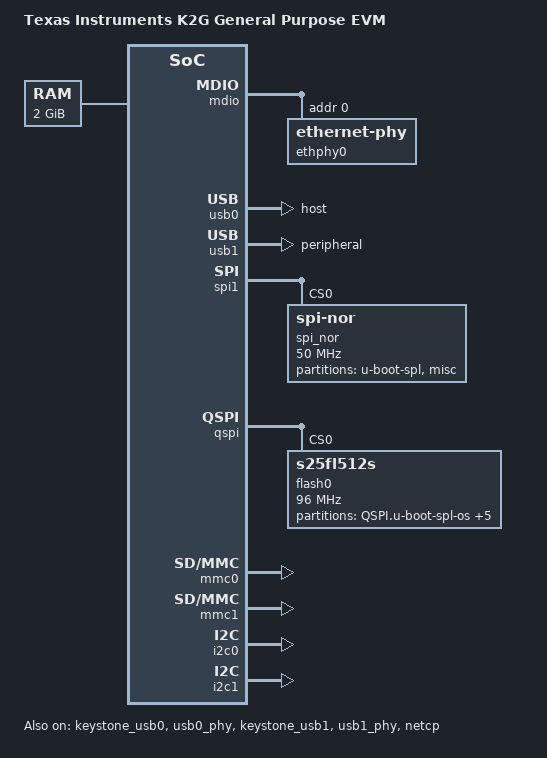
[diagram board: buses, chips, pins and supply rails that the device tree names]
/*
 * Copyright 2014 Texas Instruments, Inc.
 *
 * Device Tree Source for K2G EVM
 *
 * This program is free software; you can redistribute it and/or modify
 * it under the terms of the GNU General Public License version 2 as
 * published by the Free Software Foundation.
 */
/dts-v1/;

#include "keystone-k2g.dtsi"

/ {
	compatible =  "ti,k2g-evm","ti,keystone";
	model = "Texas Instruments K2G General Purpose EVM";

	chosen {
		stdout-path = &uart0;
	};

	memory@80000000 {
		device_type = "memory";
		reg = <0x80000000 0x80000000>;
	};
};

&mdio {
	status = "okay";
	ethphy0: ethernet-phy@0 {
		reg = <0>;
	};
};

&keystone_usb0 {
	status = "okay";
};

&usb0_phy {
	status = "okay";
	compatible = "nop-phy";
};

&usb0 {
	dr_mode = "host";
	status = "okay";
};

&keystone_usb1 {
	status = "okay";
};

&usb1_phy {
	compatible = "nop-phy";
	status = "okay";
};

&usb1 {
	dr_mode = "peripheral";
	status = "okay";
};

&gbe0 {
	phy-handle = <&ethphy0>;
};

&netcp {
	status = "okay";
};

&spi1 {
	status = "okay";

	spi_nor: flash@0 {
		#address-cells = <1>;
		#size-cells = <1>;
		compatible = "jedec,spi-nor";
		spi-max-frequency = <50000000>;
		m25p,fast-read;
		reg = <0>;

		partition@0 {
			label = "u-boot-spl";
			reg = <0x0 0x80000>;
			read-only;
		};

		partition@1 {
			label = "misc";
			reg = <0x80000 0xf80000>;
		};
	};
};

&qspi {
	status = "okay";

	flash0: m25p80@0 {
		compatible = "s25fl512s","jedec,spi-nor";
		reg = <0>;
		spi-tx-bus-width = <1>;
		spi-rx-bus-width = <4>;
		spi-max-frequency = <96000000>;
		#address-cells = <1>;
		#size-cells = <1>;
		cdns,tshsl-ns = <392>;
		cdns,tsd2d-ns = <392>;
		cdns,tchsh-ns = <100>;
		cdns,tslch-ns = <100>;
		block-size = <18>;

		partition@0 {
			label = "QSPI.u-boot-spl-os";
			reg = <0x00000000 0x00100000>;
		};
		partition@1 {
			label = "QSPI.u-boot-env";
			reg = <0x00100000 0x00040000>;
		};
		partition@2 {
			label = "QSPI.skern";
			reg = <0x00140000 0x0040000>;
		};
		partition@3 {
			label = "QSPI.pmmc-firmware";
			reg = <0x00180000 0x0040000>;
		};
		partition@4 {
			label = "QSPI.kernel";
			reg = <0x001C0000 0x0800000>;
		};
		partition@5 {
			label = "QSPI.file-system";
			reg = <0x009C0000 0x3640000>;
		};
	};
};

&mmc0 {
	status = "okay";
};

&mmc1 {
	status = "okay";
};

&i2c0 {
	status = "okay";
};

&i2c1 {
	status = "okay";
};
